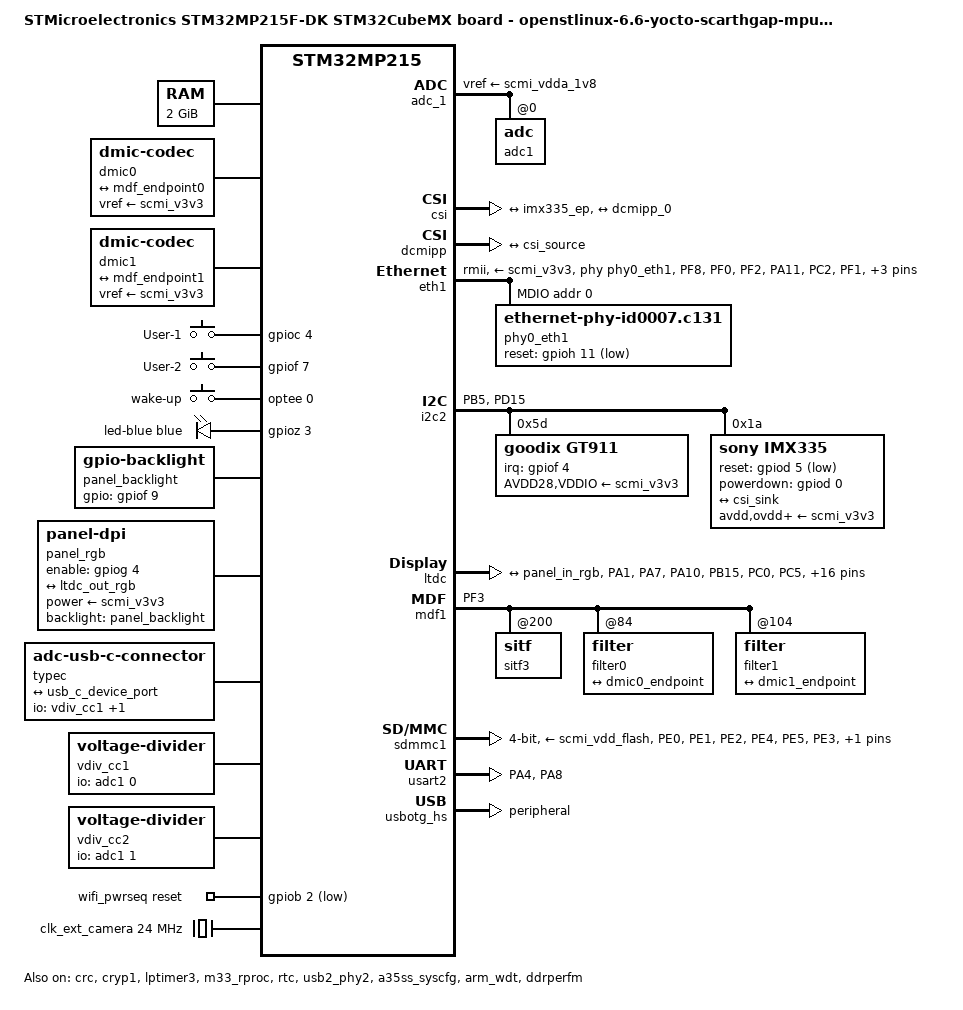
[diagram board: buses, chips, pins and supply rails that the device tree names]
// SPDX-License-Identifier: (GPL-2.0-only OR BSD-3-Clause)
/*
 * Copyright (C) 2025, STMicroelectronics - All Rights Reserved
 * Author: STM32CubeMX code generation for STMicroelectronics.
 */

/* For more information on Device Tree configuration, please refer to
 * https://wiki.st.com/stm32mpu/wiki/Category:Device_tree_configuration
 */

/dts-v1/;

#include <dt-bindings/pinctrl/stm32-pinfunc.h>
#include "stm32mp215.dtsi"
#include "stm32mp21xf.dtsi"
#include "stm32mp215f-dk-mx-resmem.dtsi"
#include "stm32mp21xxan-pinctrl.dtsi"

/* USER CODE BEGIN includes */
#include <dt-bindings/gpio/gpio.h>
#include <dt-bindings/leds/common.h>
#include <dt-bindings/input/input.h>
#include <dt-bindings/rtc/rtc-stm32.h>
#include "stm32mp21-pinctrl.dtsi"
/* USER CODE END includes */

/ {
	model = "STMicroelectronics STM32MP215F-DK STM32CubeMX board - openstlinux-6.6-yocto-scarthgap-mpu-v25.06.11";
	compatible = "st,stm32mp215f-dk-mx", "st,stm32mp215f-dk", "st,stm32mp215";

	memory@80000000 {
		device_type = "memory";
		reg = <0x0 0x80000000 0x0 0x80000000>;

		/* USER CODE BEGIN memory */
		/* USER CODE END memory */
	};

	/* USER CODE BEGIN root */

	aliases{
		ethernet0 = &eth1;
		serial0 = &usart2;
		serial1 = &usart6;
		serial2 = &uart4;
		serial3 = &usart1;
	};

	chosen{
		stdout-path = "serial0:115200n8";
		#address-cells = <2>;
		#size-cells = <2>;
		ranges;
	};

	dmic0:dmic-0{
		compatible = "dmic-codec";
		#sound-dai-cells = <1>;
		sound-name-prefix = "dmic0";
		vref-supply = <&scmi_v3v3>;
		status = "okay";

		port{

			dmic0_endpoint:endpoint{
				remote-endpoint = <&mdf_endpoint0>;
			};
		};
	};

	dmic1:dmic-1{
		compatible = "dmic-codec";
		#sound-dai-cells = <1>;
		sound-name-prefix = "dmic1";
		vref-supply = <&scmi_v3v3>;
		status = "okay";

		port{

			dmic1_endpoint:endpoint{
				remote-endpoint = <&mdf_endpoint1>;
			};
		};
	};

	gpio-keys{
		compatible = "gpio-keys";

		button-user-1{
			label = "User-1";
			linux,code = <BTN_1>;
			gpios = <&gpioc 4 GPIO_ACTIVE_HIGH>;
			status = "okay";
		};

		button-user-2{
			label = "User-2";
			linux,code = <BTN_2>;
			gpios = <&gpiof 7 GPIO_ACTIVE_HIGH>;
			status = "okay";
		};

		button-wake-up{
			label = "wake-up";
			linux,code = <KEY_WAKEUP>;
			interrupts-extended = <&optee 0>;
			wakeup-source;
			status = "okay";
		};
	};

	gpio-leds{
		compatible = "gpio-leds";

		led-blue{
			function = LED_FUNCTION_HEARTBEAT;
			color = <LED_COLOR_ID_BLUE>;
			gpios = <&gpioz 3 GPIO_ACTIVE_HIGH>;
			linux,default-trigger = "heartbeat";
			default-state = "off";
		};
	};

	panel_backlight:panel-backlight{
		compatible = "gpio-backlight";
		gpios = <&gpiof 9 GPIO_ACTIVE_HIGH>;
		default-on;
		default-brightness-level = <1>;
		status = "okay";
	};

	panel_rgb:panel-rgb{
		compatible = "panel-dpi";
		enable-gpios = <&gpiog 4 GPIO_ACTIVE_HIGH>;
		backlight = <&panel_backlight>;
		power-supply = <&scmi_v3v3>;
		data-mapping = "bgr666";
		default-on;
		status = "okay";
		width-mm = <105>;
		height-mm = <67>;

		port{

			panel_in_rgb:endpoint{
				remote-endpoint = <&ltdc_out_rgb>;
			};
		};

		panel-timing{
			clock-frequency = <10000000>;
			hactive = <480>;
			vactive = <272>;
			hsync-len = <52>;
			hfront-porch = <10>;
			hback-porch = <10>;
			vsync-len = <10>;
			vfront-porch = <10>;
			vback-porch = <10>;
			hsync-active = <0>;
			vsync-active = <0>;
			de-active = <1>;
			pixelclk-active = <1>;
		};
	};

	sound{
		compatible = "audio-graph-card";
		label = "STM32MP21-DK";
		dais = <&mdf1_port0 &mdf1_port1>;
		status = "okay";
	};

	typec{
		compatible = "adc-usb-c-connector";
		io-channels = <&vdiv_cc1>, <&vdiv_cc2>;
		io-channel-names = "cc1", "cc2";

		connector{
			compatible = "usb-c-connector";
			label = "USB-C";
			data-role = "device";
			power-role = "sink";

			port{

				usb_c_port:endpoint{
					remote-endpoint = <&usb_c_device_port>;
				};
			};
		};
	};

	vdiv_cc1:voltage-divider-cc1{
		compatible = "voltage-divider";
		#io-channel-cells = <0>;
		io-channels = <&adc1 0>;
		output-ohms = <3900>;
		full-ohms = <5100>;
	};

	vdiv_cc2:voltage-divider-cc2{
		compatible = "voltage-divider";
		#io-channel-cells = <0>;
		io-channels = <&adc1 1>;
		output-ohms = <3900>;
		full-ohms = <5100>;
	};

	wifi_pwrseq:wifi-pwrseq{
		compatible = "mmc-pwrseq-simple";
		reset-gpios = <&gpiob 2 GPIO_ACTIVE_LOW>;
	};
	/* USER CODE END root */

	clocks{

		/* USER CODE BEGIN clocks */

		clk_ext_camera:clk-ext-camera{
			#clock-cells = <0>;
			compatible = "fixed-clock";
			clock-frequency = <24000000>;
		};
		/* USER CODE END clocks */
	};

}; /*root*/

&pinctrl {

	eth1_clk_pins_mx: eth1_clk_mx-0 {
		pins {
			pinmux = <STM32_PINMUX('F', 8, AF9)>; /* ETH1_CLK */
			bias-disable;
			drive-push-pull;
			slew-rate = <1>;
		};
	};

	eth1_clk_sleep_pins_mx: eth1_clk_sleep_mx-0 {
		pins {
			pinmux = <STM32_PINMUX('F', 8, ANALOG)>; /* ETH1_CLK */
		};
	};

	eth1_mdio_pins_mx: eth1_mdio_mx-0 {
		pins {
			pinmux = <STM32_PINMUX('F', 0, AF10)>, /* ETH1_MDC */
					 <STM32_PINMUX('F', 2, AF10)>; /* ETH1_MDIO */
			bias-disable;
			drive-push-pull;
			slew-rate = <1>;
		};
	};

	eth1_mdio_sleep_pins_mx: eth1_mdio_sleep_mx-0 {
		pins {
			pinmux = <STM32_PINMUX('F', 0, ANALOG)>, /* ETH1_MDC */
					 <STM32_PINMUX('F', 2, ANALOG)>; /* ETH1_MDIO */
		};
	};

	eth1_rmii_pins_mx: eth1_rmii_mx-0 {
		pins1 {
			pinmux = <STM32_PINMUX('A', 11, AF10)>, /* ETH1_RMII_CRS_DV */
					 <STM32_PINMUX('C', 2, AF10)>, /* ETH1_RMII_RXD1 */
					 <STM32_PINMUX('F', 1, AF10)>; /* ETH1_RMII_RXD0 */
			bias-disable;
			drive-push-pull;
		};
		pins2 {
			pinmux = <STM32_PINMUX('A', 13, AF10)>, /* ETH1_RMII_TX_EN */
					 <STM32_PINMUX('A', 15, AF10)>, /* ETH1_RMII_TXD0 */
					 <STM32_PINMUX('C', 1, AF10)>; /* ETH1_RMII_TXD1 */
			bias-disable;
			drive-push-pull;
			slew-rate = <1>;
		};
	};

	eth1_rmii_sleep_pins_mx: eth1_rmii_sleep_mx-0 {
		pins {
			pinmux = <STM32_PINMUX('A', 11, ANALOG)>, /* ETH1_RMII_CRS_DV */
					 <STM32_PINMUX('A', 13, ANALOG)>, /* ETH1_RMII_TX_EN */
					 <STM32_PINMUX('A', 15, ANALOG)>, /* ETH1_RMII_TXD0 */
					 <STM32_PINMUX('C', 1, ANALOG)>, /* ETH1_RMII_TXD1 */
					 <STM32_PINMUX('C', 2, ANALOG)>, /* ETH1_RMII_RXD1 */
					 <STM32_PINMUX('F', 1, ANALOG)>; /* ETH1_RMII_RXD0 */
		};
	};

	i2c2_pins_mx: i2c2_mx-0 {
		pins {
			pinmux = <STM32_PINMUX('B', 5, AF9)>, /* I2C2_SCL */
					 <STM32_PINMUX('D', 15, AF6)>; /* I2C2_SDA */
			bias-disable;
			drive-open-drain;
			slew-rate = <0>;
		};
	};

	i2c2_sleep_pins_mx: i2c2_sleep_mx-0 {
		pins {
			pinmux = <STM32_PINMUX('B', 5, ANALOG)>, /* I2C2_SCL */
					 <STM32_PINMUX('D', 15, ANALOG)>; /* I2C2_SDA */
		};
	};

	ltdc_pins_mx: ltdc_mx-0 {
		pins1 {
			pinmux = <STM32_PINMUX('A', 1, AF11)>, /* LTDC_R3 */
					 <STM32_PINMUX('A', 7, AF10)>, /* LTDC_B5 */
					 <STM32_PINMUX('A', 10, AF12)>, /* LTDC_R6 */
					 <STM32_PINMUX('B', 15, AF13)>, /* LTDC_R4 */
					 <STM32_PINMUX('C', 0, AF13)>, /* LTDC_G7 */
					 <STM32_PINMUX('C', 5, AF14)>, /* LTDC_DE */
					 <STM32_PINMUX('C', 11, AF13)>, /* LTDC_R2 */
					 <STM32_PINMUX('F', 5, AF13)>, /* LTDC_B6 */
					 <STM32_PINMUX('G', 2, AF13)>, /* LTDC_HSYNC */
					 <STM32_PINMUX('G', 5, AF13)>, /* LTDC_R5 */
					 <STM32_PINMUX('G', 7, AF13)>, /* LTDC_R7 */
					 <STM32_PINMUX('G', 8, AF13)>, /* LTDC_G2 */
					 <STM32_PINMUX('G', 9, AF13)>, /* LTDC_G3 */
					 <STM32_PINMUX('G', 10, AF13)>, /* LTDC_G4 */
					 <STM32_PINMUX('G', 11, AF13)>, /* LTDC_G5 */
					 <STM32_PINMUX('G', 12, AF13)>, /* LTDC_G6 */
					 <STM32_PINMUX('G', 15, AF13)>, /* LTDC_B2 */
					 <STM32_PINMUX('I', 0, AF13)>, /* LTDC_B3 */
					 <STM32_PINMUX('I', 1, AF13)>, /* LTDC_B4 */
					 <STM32_PINMUX('I', 4, AF13)>, /* LTDC_B7 */
					 <STM32_PINMUX('I', 6, AF13)>; /* LTDC_VSYNC */
			bias-disable;
			drive-push-pull;
			slew-rate = <0>;
			st,io-clk-edge = <0>;
			st,io-retime = <1>;
			st,io-delay-path = <0>;
			st,io-delay = <0>;
		};
		pins2 {
			pinmux = <STM32_PINMUX('F', 12, AF13)>; /* LTDC_CLK */
			bias-disable;
			drive-push-pull;
			slew-rate = <1>;
			st,io-clk-edge = <0>;
			st,io-retime = <0>;
			st,io-delay-path = <0>;
			st,io-clk-type = <0>;
			st,io-delay = <0>;
		};
	};

	ltdc_sleep_pins_mx: ltdc_sleep_mx-0 {
		pins {
			pinmux = <STM32_PINMUX('A', 1, ANALOG)>, /* LTDC_R3 */
					 <STM32_PINMUX('A', 7, ANALOG)>, /* LTDC_B5 */
					 <STM32_PINMUX('A', 10, ANALOG)>, /* LTDC_R6 */
					 <STM32_PINMUX('B', 15, ANALOG)>, /* LTDC_R4 */
					 <STM32_PINMUX('C', 0, ANALOG)>, /* LTDC_G7 */
					 <STM32_PINMUX('C', 5, ANALOG)>, /* LTDC_DE */
					 <STM32_PINMUX('C', 11, ANALOG)>, /* LTDC_R2 */
					 <STM32_PINMUX('F', 5, ANALOG)>, /* LTDC_B6 */
					 <STM32_PINMUX('F', 12, ANALOG)>, /* LTDC_CLK */
					 <STM32_PINMUX('G', 2, ANALOG)>, /* LTDC_HSYNC */
					 <STM32_PINMUX('G', 5, ANALOG)>, /* LTDC_R5 */
					 <STM32_PINMUX('G', 7, ANALOG)>, /* LTDC_R7 */
					 <STM32_PINMUX('G', 8, ANALOG)>, /* LTDC_G2 */
					 <STM32_PINMUX('G', 9, ANALOG)>, /* LTDC_G3 */
					 <STM32_PINMUX('G', 10, ANALOG)>, /* LTDC_G4 */
					 <STM32_PINMUX('G', 11, ANALOG)>, /* LTDC_G5 */
					 <STM32_PINMUX('G', 12, ANALOG)>, /* LTDC_G6 */
					 <STM32_PINMUX('G', 15, ANALOG)>, /* LTDC_B2 */
					 <STM32_PINMUX('I', 0, ANALOG)>, /* LTDC_B3 */
					 <STM32_PINMUX('I', 1, ANALOG)>, /* LTDC_B4 */
					 <STM32_PINMUX('I', 4, ANALOG)>, /* LTDC_B7 */
					 <STM32_PINMUX('I', 6, ANALOG)>; /* LTDC_VSYNC */
		};
	};

	mdf1_pins_mx: mdf1_mx-0 {
		pins {
			pinmux = <STM32_PINMUX('F', 3, AF5)>; /* MDF1_CCK0 */
			bias-disable;
			drive-push-pull;
			slew-rate = <1>;
		};
	};

	mdf1_sleep_pins_mx: mdf1_sleep_mx-0 {
		pins {
			pinmux = <STM32_PINMUX('F', 3, ANALOG)>; /* MDF1_CCK0 */
		};
	};

	rtc_pins_mx: rtc_mx-0 {
		pins {
			pinmux = <STM32_PINMUX('C', 13, ANALOG)>; /* RTC_OUT1 */
			bias-disable;
			drive-push-pull;
			slew-rate = <0>;
		};
	};

	rtc_sleep_pins_mx: rtc_sleep_mx-0 {
		pins {
			pinmux = <STM32_PINMUX('C', 13, ANALOG)>; /* RTC_OUT1 */
		};
	};

	sdmmc1_pins_mx: sdmmc1_mx-0 {
		pins1 {
			pinmux = <STM32_PINMUX('E', 0, AF10)>, /* SDMMC1_D2 */
					 <STM32_PINMUX('E', 1, AF10)>, /* SDMMC1_D3 */
					 <STM32_PINMUX('E', 2, AF10)>, /* SDMMC1_CMD */
					 <STM32_PINMUX('E', 4, AF10)>, /* SDMMC1_D0 */
					 <STM32_PINMUX('E', 5, AF10)>; /* SDMMC1_D1 */
			bias-disable;
			drive-push-pull;
			slew-rate = <2>;
		};
		pins2 {
			pinmux = <STM32_PINMUX('E', 3, AF10)>; /* SDMMC1_CK */
			bias-disable;
			drive-push-pull;
			slew-rate = <3>;
		};
	};

	sdmmc1_opendrain_pins_mx: sdmmc1_opendrain_mx-0 {
		pins1 {
			pinmux = <STM32_PINMUX('E', 0, AF10)>, /* SDMMC1_D2 */
					 <STM32_PINMUX('E', 1, AF10)>, /* SDMMC1_D3 */
					 <STM32_PINMUX('E', 4, AF10)>, /* SDMMC1_D0 */
					 <STM32_PINMUX('E', 5, AF10)>; /* SDMMC1_D1 */
			bias-disable;
			drive-push-pull;
			slew-rate = <2>;
		};
		pins2 {
			pinmux = <STM32_PINMUX('E', 2, AF10)>; /* SDMMC1_CMD */
			bias-disable;
			drive-open-drain;
			slew-rate = <2>;
		};
		pins3 {
			pinmux = <STM32_PINMUX('E', 3, AF10)>; /* SDMMC1_CK */
			bias-disable;
			drive-push-pull;
			slew-rate = <3>;
		};
	};

	sdmmc1_sleep_pins_mx: sdmmc1_sleep_mx-0 {
		pins {
			pinmux = <STM32_PINMUX('E', 0, ANALOG)>, /* SDMMC1_D2 */
					 <STM32_PINMUX('E', 1, ANALOG)>, /* SDMMC1_D3 */
					 <STM32_PINMUX('E', 2, ANALOG)>, /* SDMMC1_CMD */
					 <STM32_PINMUX('E', 3, ANALOG)>, /* SDMMC1_CK */
					 <STM32_PINMUX('E', 4, ANALOG)>, /* SDMMC1_D0 */
					 <STM32_PINMUX('E', 5, ANALOG)>; /* SDMMC1_D1 */
		};
	};

	usart2_pins_mx: usart2_mx-0 {
		pins1 {
			pinmux = <STM32_PINMUX('A', 4, AF6)>; /* USART2_TX */
			bias-disable;
			drive-push-pull;
			slew-rate = <0>;
		};
		pins2 {
			pinmux = <STM32_PINMUX('A', 8, AF8)>; /* USART2_RX */
			bias-disable;
			drive-push-pull;
		};
	};

	usart2_idle_pins_mx: usart2_idle_mx-0 {
		pins1 {
			pinmux = <STM32_PINMUX('A', 4, ANALOG)>; /* USART2_TX */
		};
		pins2 {
			pinmux = <STM32_PINMUX('A', 8, AF8)>; /* USART2_RX */
			bias-disable;
			drive-push-pull;
		};
	};

	usart2_sleep_pins_mx: usart2_sleep_mx-0 {
		pins {
			pinmux = <STM32_PINMUX('A', 4, ANALOG)>, /* USART2_TX */
					 <STM32_PINMUX('A', 8, ANALOG)>; /* USART2_RX */
		};
	};

	/* USER CODE BEGIN pinctrl */
	/* USER CODE END pinctrl */
};

&pinctrl_z {
	/* USER CODE BEGIN pinctrl_z */
	/* USER CODE END pinctrl_z */
};

&adc_1 {
	status = "okay";

	/* USER CODE BEGIN adc_1 */
	vdda-supply = <&scmi_vdda18adc>;
	vref-supply = <&scmi_vdda_1v8>;

	adc1:adc@0{
		status = "okay";

		channel@0{
			reg = <0>;
			st,min-sample-time-ns = <100>;
		};

		channel@1{
			reg = <1>;
			st,min-sample-time-ns = <100>;
		};
	};
	/* USER CODE END adc_1 */
};

&crc {
	status = "okay";

	/* USER CODE BEGIN crc */
	/* USER CODE END crc */
};

&cryp1 {
	status = "okay";

	/* USER CODE BEGIN cryp1 */
	/* USER CODE END cryp1 */
};

&csi {
	status = "okay";

	/* USER CODE BEGIN csi */
	vdd-supply = <&scmi_vddcore>;
	vdda18-supply = <&scmi_vdda_1v8>;

	ports{
		#address-cells = <1>;
		#size-cells = <0>;

		port@0{
			reg = <0>;

			csi_sink:endpoint{
				remote-endpoint = <&imx335_ep>;
				data-lanes = <1 2>;
				bus-type = <4>;
			};
		};

		port@1{
			reg = <1>;

			csi_source:endpoint{
				remote-endpoint = <&dcmipp_0>;
			};
		};
	};
	/* USER CODE END csi */
};

&dcmipp {
	status = "okay";

	/* USER CODE BEGIN dcmipp */

	port{

		dcmipp_0:endpoint{
			remote-endpoint = <&csi_source>;
			bus-type = <4>;
		};
	};
	/* USER CODE END dcmipp */
};

&eth1 {
	pinctrl-names = "default", "sleep";
	pinctrl-0 = <&eth1_clk_pins_mx>, <&eth1_mdio_pins_mx>, <&eth1_rmii_pins_mx>;
	pinctrl-1 = <&eth1_clk_sleep_pins_mx>, <&eth1_mdio_sleep_pins_mx>, <&eth1_rmii_sleep_pins_mx>;
	status = "okay";

	/* USER CODE BEGIN eth1 */
	phy-mode = "rmii";
	max-speed = <100>;
	phy-handle = <&phy0_eth1>;
	phy-supply = <&scmi_v3v3>;
	st,ext-phyclk;

	mdio1{
		#address-cells = <1>;
		#size-cells = <0>;
		compatible = "snps,dwmac-mdio";

		phy0_eth1:ethernet-phy@0{
			compatible = "ethernet-phy-id0007.c131";
			reset-gpios = <&gpioh 11 GPIO_ACTIVE_LOW>;
			reset-assert-us = <1000>;
			reset-deassert-us = <30000>;
			reg = <0>;
		};
	};
	/* USER CODE END eth1 */
};

&hpdma {
	status = "okay";

	/* USER CODE BEGIN hpdma */
	memory-region = <&hpdma1_lli>;
	lli-bus-interface = <1>;
	/* USER CODE END hpdma */
};

&hpdma2 {
	status = "okay";

	/* USER CODE BEGIN hpdma2 */
	memory-region = <&hpdma2_lli>;
	lli-bus-interface = <1>;
	/* USER CODE END hpdma2 */
};

&hpdma3 {
	status = "okay";

	/* USER CODE BEGIN hpdma3 */
	memory-region = <&hpdma3_lli>;
	lli-bus-interface = <1>;
	/* USER CODE END hpdma3 */
};

&i2c2 {
	pinctrl-names = "default", "sleep";
	pinctrl-0 = <&i2c2_pins_mx>;
	pinctrl-1 = <&i2c2_sleep_pins_mx>;
	status = "okay";

	/* USER CODE BEGIN i2c2 */
	i2c-scl-rising-time-ns = <34>;
	i2c-scl-falling-time-ns = <2>;
	goodix:goodix-ts@5d{
		compatible = "goodix,gt911";
		reg = <0x5d>;
		pinctrl-names = "default";
		pinctrl-0 = <&goodix_pins_a>;
		interrupt-parent = <&gpiof>;
		interrupts = <4 IRQ_TYPE_EDGE_FALLING>;
		AVDD28-supply = <&scmi_v3v3>;
		VDDIO-supply = <&scmi_v3v3>;
		touchscreen-size-x = <480>;
		touchscreen-size-y = <272>;
		status = "okay";
	};

	imx335:camera@1a{
		compatible = "sony,imx335";
		reg = <0x1a>;
		clocks = <&clk_ext_camera>;
		avdd-supply = <&scmi_v3v3>;
		ovdd-supply = <&scmi_v3v3>;
		dvdd-supply = <&scmi_v3v3>;
		reset-gpios = <&gpiod 5 (GPIO_ACTIVE_LOW | GPIO_PUSH_PULL)>;
		powerdown-gpios = <&gpiod 0 (GPIO_ACTIVE_HIGH | GPIO_PUSH_PULL)>;

		port{

			imx335_ep:endpoint{
				remote-endpoint = <&csi_sink>;
				clock-lanes = <0>;
				data-lanes = <1 2>;
				link-frequencies = /bits/ 64 <594000000>;
			};
		};
	};
	/* USER CODE END i2c2 */
};

&ipcc1 {
	status = "okay";

	/* USER CODE BEGIN ipcc1 */
	/* USER CODE END ipcc1 */
};

&lptimer3 {
	status = "okay";

	/* USER CODE BEGIN lptimer3 */

	timer{
		status = "okay";
	};
	/* USER CODE END lptimer3 */
};

&ltdc {
	pinctrl-names = "default", "sleep";
	pinctrl-0 = <&ltdc_pins_mx>;
	pinctrl-1 = <&ltdc_sleep_pins_mx>;
	status = "okay";

	/* USER CODE BEGIN ltdc */
	default-on;

	port{

		ltdc_out_rgb:endpoint{
			remote-endpoint = <&panel_in_rgb>;
		};
	};
	/* USER CODE END ltdc */
};

&m33_rproc {
	status = "okay";

	/*Restriction: "memory-region" property is not managed - please to use User-Section if needed*/
	mboxes = <&ipcc1 0x100>, <&ipcc1 0x101>, <&ipcc1 2>;
	mbox-names = "vq0", "vq1", "shutdown";

	/* USER CODE BEGIN m33_rproc */
	memory-region = <&ipc_shmem_1>, <&vdev0vring0>,
			<&vdev0vring1>, <&vdev0buffer>,
			<&cm33_sram1>;
	/* USER CODE END m33_rproc */
};

&mdf1 {
	pinctrl-names = "default", "sleep";
	pinctrl-0 = <&mdf1_pins_mx>;
	pinctrl-1 = <&mdf1_sleep_pins_mx>;
	status = "okay";

	/* USER CODE BEGIN mdf1 */
	#clock-cells = <1>;
	clock-output-names = "cck0";
	clock-frequency = <1536000>;

	sitf3:sitf@200{
		pinctrl-names = "default", "sleep";
		pinctrl-0 = <&mdf_sdi3_pins_a>;
		pinctrl-1 = <&mdf_sdi3_sleep_pins_a>;
		st,sitf-mode = "spi";
		clocks = <&mdf1 0>;
		status = "okay";
	};

	filter0:filter@84{
		#address-cells = <1>;
		#size-cells = <0>;
		st,cic-mode = <4>;
		st,sitf = <&sitf3 0>;
		st,hpf-filter-cutoff-bp = <625>;
		status = "okay";

		channel@0{
			reg = <0>;
			label = "dmic_u26";
		};

		asoc_pdm0:mdf-dai{
			compatible = "st,stm32mp25-mdf-dai";
			#sound-dai-cells = <0>;
			io-channels = <&filter0 0>;
			power-domains = <&d1_pd>;
			status = "okay";

			mdf1_port0:port{

				mdf_endpoint0:endpoint{
					remote-endpoint = <&dmic0_endpoint>;
				};
			};
		};
	};

	filter1:filter@104{
		#address-cells = <1>;
		#size-cells = <0>;
		st,cic-mode = <4>;
		st,sitf = <&sitf3 1>;
		st,hpf-filter-cutoff-bp = <625>;
		status = "okay";

		channel@1{
			reg = <1>;
			label = "dmic_u27";
		};

		asoc_pdm1:mdf-dai{
			compatible = "st,stm32mp25-mdf-dai";
			#sound-dai-cells = <0>;
			io-channels = <&filter1 0>;
			power-domains = <&d1_pd>;
			status = "okay";

			mdf1_port1:port{

				mdf_endpoint1:endpoint{
					remote-endpoint = <&dmic1_endpoint>;
				};
			};
		};
	};
	/* USER CODE END mdf1 */
};

&rtc {
	pinctrl-names = "default", "sleep";
	pinctrl-0 = <&rtc_pins_mx>;
	pinctrl-1 = <&rtc_sleep_pins_mx>;
	status = "okay";

	/* USER CODE BEGIN rtc */
	st,lsco = <RTC_OUT1>;
	/* USER CODE END rtc */
};

&sdmmc1 {
	pinctrl-names = "default", "opendrain", "sleep";
	pinctrl-0 = <&sdmmc1_pins_mx>;
	pinctrl-1 = <&sdmmc1_opendrain_pins_mx>;
	pinctrl-2 = <&sdmmc1_sleep_pins_mx>;
	status = "okay";

	/* USER CODE BEGIN sdmmc1 */
	cd-gpios = <&gpiod 3 (GPIO_ACTIVE_LOW | GPIO_PULL_UP)>;
	disable-wp;
	st,neg-edge;
	bus-width = <4>;
	vmmc-supply = <&scmi_vdd_flash>;
	vqmmc-supply = <&scmi_vddio1>;
	/* USER CODE END sdmmc1 */
};

&usart2 {
	pinctrl-names = "default", "idle", "sleep";
	pinctrl-0 = <&usart2_pins_mx>;
	pinctrl-1 = <&usart2_idle_pins_mx>;
	pinctrl-2 = <&usart2_sleep_pins_mx>;
	status = "okay";

	/* USER CODE BEGIN usart2 */
	/delete-property/ dmas;
	/delete-property/ dma-names;
	/* USER CODE END usart2 */
};

&usb2_phy2 {
	status = "okay";

	/* USER CODE BEGIN usb2_phy2 */
	vdda18-supply = <&scmi_vdda_1v8>;
	vdd33-supply = <&scmi_vdd3v3_usb>;
	/* USER CODE END usb2_phy2 */
};

&usbotg_hs {
	status = "okay";

	/* USER CODE BEGIN usbotg_hs */
	role-switch-default-mode = "peripheral";
	dr_mode = "peripheral";
	usb-role-switch;

	port{

		usb_c_device_port:endpoint{
			remote-endpoint = <&usb_c_port>;
		};
	};
	/delete-node/ port;
	/* USER CODE END usbotg_hs */
};

/* USER CODE BEGIN addons */

&a35ss_syscfg {
	status = "okay";
};

&arm_wdt {
	timeout-sec = <32>;
	status = "okay";
};

&ddrperfm {
	st,dram-type = <0>;
	status = "okay";
};

&scmi_regu {
	scmi_vddcore: regulator@5 {
		reg = <VOLTD_SCMI_STPMIC_BUCK1>;
		regulator-name = "vddcore";
	};
	scmi_vdd3v3_usb: regulator@f {
		reg = <VOLTD_SCMI_STPMIC_LDO4>;
		regulator-name = "vdd3v3_usb";
	};
	scmi_vdd_flash: regulator@10 {
		reg = <VOLTD_SCMI_STPMIC_LDO5>;
		regulator-name = "vdd_flash";
	};
	scmi_vdda_1v8: regulator@11 {
		reg = <VOLTD_SCMI_STPMIC_LDO6>;
		regulator-name = "vdda_1v8";
	};
	scmi_v3v3: regulator@15 {
		reg = <VOLTD_SCMI_STPMIC_GPO1>;
		regulator-name = "v3v3";
	};
};

&usart2_pins_mx{
 	bootph-all;

  	pins1{
 		bootph-all;
  	};

  	pins2{
 		bootph-all;
  	};
};
/* USER CODE END addons */

